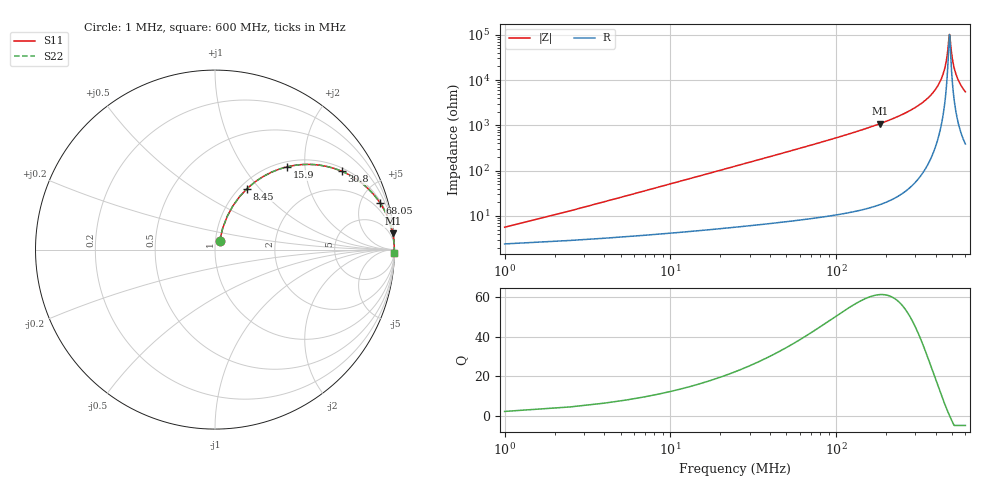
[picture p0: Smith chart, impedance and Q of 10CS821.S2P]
! Coilcraft 1008CS-821 Chip Inductor
! 02 July 2002
# MHZ S MA R 50
!Freq  MagS11  AngS11  MagS21  AngS21  MagS12  AngS12  MagS22  AngS22
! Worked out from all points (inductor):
!   404 points, 1 MHz to 600 MHz, reference 50 ohm
!   read as one part in series: L = 810 nH near 3.98 MHz
!   highest Q = 61.4 at 184.3 MHz (marker M1), where L = 949 nH
!   self-resonance near 480.8 MHz
!   S11 on the Smith chart (normalised r, x): 1 MHz: 1.05, +0.10; 8.45 MHz: 1.08, +0.86; 15.9 MHz: 1.10, +1.62; 30.8 MHz: 1.12, +3.15; 68.05 MHz: 1.17, +7.07; 600 MHz: open
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1  0.05492 61.8  0.9753 -2.8  0.9753 -2.8  0.05492 61.8
5.47  0.2618 67.8  0.9331 -15.1  0.9331 -15.1  0.2618 67.8
8.45  0.384 62.3  0.8888 -22.5  0.8888 -22.5  0.384 62.3
15.9  0.6125 48.9  0.7548 -37.7  0.7548 -37.7  0.6125 48.9
30.8  0.8297 31.8  0.5268 -56.0  0.5268 -56.0  0.8297 31.8
45.7  0.9101 22.8  0.3876 -65.5  0.3876 -65.5  0.9101 22.8
68.05  0.9562 15.7  0.2705 -72.9  0.2705 -72.9  0.9562 15.7
102.32  0.9802 10.3  0.1797 -78.5  0.1797 -78.5  0.9802 10.3
184.27  0.9944 5.2  0.09049 -83.9  0.09049 -83.9  0.9944 5.2
202.15  0.9955 4.6  0.07969 -84.5  0.07969 -84.5  0.9955 4.6
301.98  0.9983 2.3  0.03939 -86.5  0.03939 -86.5  0.9983 2.3
401.81  0.999 0.8  0.01483 -85.8  0.01483 -85.8  0.999 0.8
430.12  0.9991 0.5  0.009238 -83.9  0.009238 -83.9  0.9991 0.5
450.98  0.9991 0.3  0.005397 -79.8  0.005397 -79.8  0.9991 0.3
464.39  0.999 0.2  0.003075 -71.9  0.003075 -71.9  0.999 0.2
480.78  0.999 0.0  0.0009821 -5.6  0.0009821 -5.6  0.999 0.0
483.76  0.999 -0.0  0.001064 22.5  0.001064 22.5  0.999 -0.0
494.19  0.999 -0.1  0.00237 64.8  0.00237 64.8  0.999 -0.1
501.64  0.999 -0.2  0.003518 73.0  0.003518 73.0  0.999 -0.2
516.54  0.9989 -0.3  0.005852 79.3  0.005852 79.3  0.9989 -0.3
537.4  0.9989 -0.5  0.009064 82.5  0.009064 82.5  0.9989 -0.5
600  0.9986 -1.0  0.01814 84.9  0.01814 84.9  0.9986 -1.0
